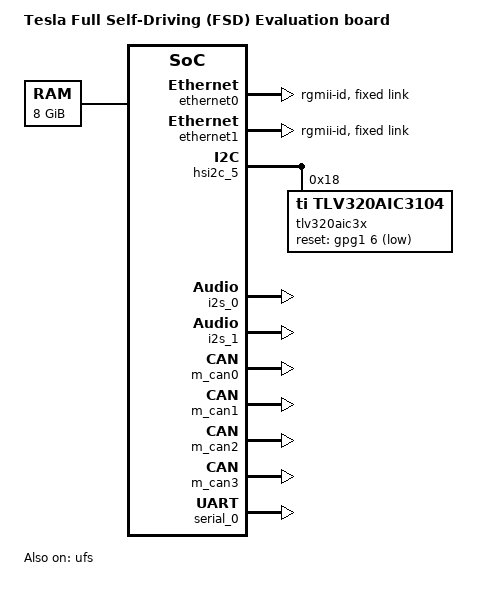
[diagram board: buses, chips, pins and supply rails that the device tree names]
// SPDX-License-Identifier: (GPL-2.0-only OR BSD-2-Clause)
/*
 * Tesla FSD board device tree source
 *
 * Copyright (c) 2017-2021 Samsung Electronics Co., Ltd.
 *		https://www.samsung.com
 * Copyright (c) 2017-2021 Tesla, Inc.
 *		https://www.tesla.com
 */

/dts-v1/;
#include "fsd.dtsi"
#include <dt-bindings/gpio/gpio.h>

/ {
	model = "Tesla Full Self-Driving (FSD) Evaluation board";
	compatible = "tesla,fsd-evb", "tesla,fsd";

	aliases {
		serial0 = &serial_0;
		serial1 = &serial_1;
	};

	chosen {
		stdout-path = &serial_0;
	};

	memory@80000000 {
		device_type = "memory";
		reg = <0x0 0x80000000 0x2 0x00000000>;
	};

	sound {
		compatible = "simple-audio-card";

		#address-cells = <1>;
		#size-cells = <0>;

		simple-audio-card,name = "FSD Audio Card";
		simple-audio-card,widgets = "Line", "Line Out",
					    "Line", "Line In";
		simple-audio-card,routing = "Line Out", "LLOUT",
					    "Line Out", "RLOUT",
					    "MIC2L", "Line In",
					    "MIC2R", "Line In";

		simple-audio-card,dai-link@0 {
			reg = <0>;
			format = "i2s";
			bitclock-master = <&tlv320aic3x>;
			frame-master = <&tlv320aic3x>;

			cpu-0 {
				sound-dai = <&i2s_0 0>;
			};
			cpu-1 {
				sound-dai = <&i2s_0 1>;
			};
			codec {
				sound-dai = <&tlv320aic3x>;
				system-clock-frequency = <33000000>;
			};
		};
	};
};

&ethernet0 {
	status = "okay";

	phy-mode = "rgmii-id";
	fixed-link {
		speed = <1000>;
		full-duplex;
	};
};

&ethernet1 {
	status = "okay";

	phy-mode = "rgmii-id";
	fixed-link {
		speed = <1000>;
		full-duplex;
	};
};

&fin_pll {
	clock-frequency = <24000000>;
};

&hsi2c_5 {
	status = "okay";

	tlv320aic3x: codec@18 {
		compatible = "ti,tlv320aic3104";
		reg = <0x18>;
		#sound-dai-cells = <0>;
		reset-gpios = <&gpg1 6 GPIO_ACTIVE_LOW>;
	};
};

&i2s_0 {
	status = "okay";
};

&i2s_1 {
	status = "okay";
};

&m_can0 {
	status = "okay";
};

&m_can1 {
	status = "okay";
};

&m_can2 {
	status = "okay";
};

&m_can3 {
	status = "okay";
};

&serial_0 {
	status = "okay";
};

&ufs {
	status = "okay";
};
